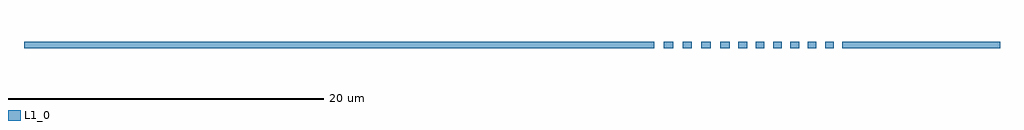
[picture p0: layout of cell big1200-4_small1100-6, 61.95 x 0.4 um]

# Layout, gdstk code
import gdstk
lib = gdstk.Library(unit=1e-6, precision=1e-09)
def R(c, l, rs):  # rectangles x0, y0, x1, y1
    for r in rs: c.add(gdstk.rectangle(r[:2], r[2:], *l))
def A(c, l, x, y, w, h, nx, ny, dx, dy):  # array of equal rectangles
    R(c, l, [(x+i*dx, y+j*dy, x+i*dx+w, y+j*dy+h) for i in range(nx) for j in range(ny)])
L1_0 = (1, 0)

big1200_4_small1100_6 = lib.new_cell('big1200-4_small1100-6')
A(big1200_4_small1100_6, L1_0, 0.6, 0, 0.6, 0.4, 4, 1, 1.2, 0)
A(big1200_4_small1100_6, L1_0, 5.35, 0, 0.55, 0.4, 6, 1, 1.1, 0)
R(big1200_4_small1100_6, L1_0, [(-40,0,0,0.4), (11.95,0,21.95,0.4)])

lib.write_gds('big1200-4_small1100-6.gds')
